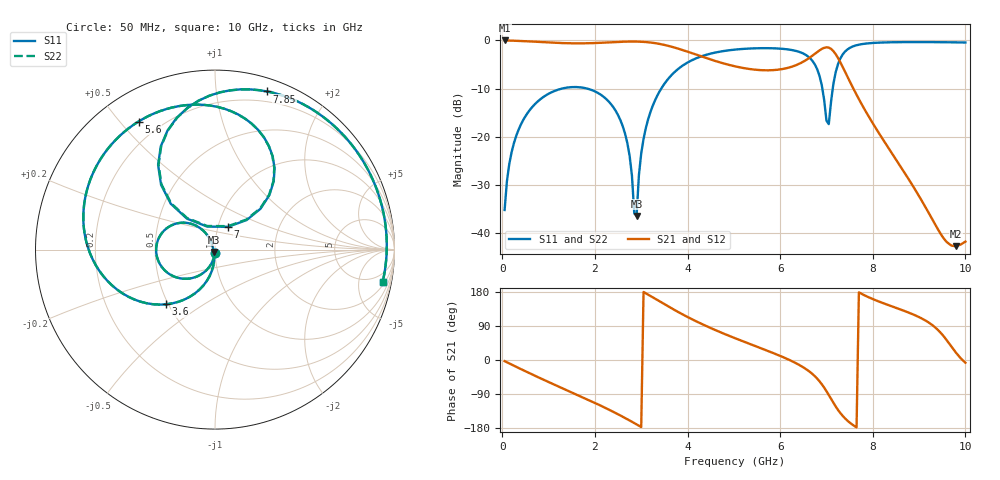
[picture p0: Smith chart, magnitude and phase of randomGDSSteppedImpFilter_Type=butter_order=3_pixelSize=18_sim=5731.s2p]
! freq	dB(S11)	phase(S11)	dB(S12)	phase(S12)
!  dB(S21)	phase(S21)	dB(S22)	phase(S22)
!S-par simulation data
#  GHz  S  DB  R 50
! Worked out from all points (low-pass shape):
!   200 points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, 50 MHz to 10 GHz, reference 50 ohm
!   highest |S21| = 0.00 dB at 50 MHz (marker M1); lowest = -42.8 dB at 9.8 GHz (marker M2)
!   |S21| within 3 dB of the highest: start of sweep to 4.204 GHz; 6.719 GHz to 7.209 GHz (489.3 MHz wide, 7.03 % of centre)
!   lowest |S11| = -36.5 dB at 2.9 GHz (marker M3), VSWR 1.03, Z = 49.3 - j1.31 ohm
!   |S11| at or under -10 dB: start of sweep to 1.29 GHz; 1.828 GHz to 3.433 GHz (1.605 GHz wide, 61 % of centre); 6.911 GHz to 7.136 GHz (225.5 MHz wide, 3.21 % of centre)
!   |S22| runs from -36.4 to -0.3 dB; largest |S21 - S12| = 0
!   S11 on the Smith chart (normalised r, x): 50 MHz: 1.00, -0.03; 3.6 GHz: 0.49, -0.36; 5.6 GHz: 0.12, +0.56; 7 GHz: 1.12, +0.29; 7.85 GHz: 0.11, +1.38; 10 GHz: 3, -10
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0.05  -35.24 -92.9  -0.00 -3.0  -0.00 -3.0  -35.24 -92.9
0.2  -23.27 -102.2  -0.04 -12.0  -0.04 -12.0  -23.27 -102.2
0.5  -15.75 -120.3  -0.16 -29.7  -0.16 -29.7  -15.75 -120.3
1.75  -9.84 170.5  -0.60 -99.2  -0.60 -99.2  -9.84 170.5
2.55  -16.56 125.1  -0.29 -146.4  -0.29 -146.4  -16.56 125.2
2.75  -24.02 116.2  -0.23 -159.6  -0.23 -159.6  -24.02 116.2
2.9  -36.47 -117.7  -0.24 -169.9  -0.24 -169.9  -36.44 -117.9
3.05  -20.47 -96.3  -0.30 179.5  -0.30 179.5  -20.46 -96.3
3.4  -10.53 -118.0  -0.73 154.4  -0.73 154.4  -10.53 -118.1
3.6  -7.78 -131.7  -1.16 140.2  -1.16 140.2  -7.78 -131.7
4.35  -3.14 -178.3  -3.48 92.6  -3.48 92.6  -3.14 -178.3
5.05  -1.88 146.1  -5.44 56.4  -5.44 56.4  -1.88 146.2
5.6  -1.61 120.8  -6.18 30.4  -6.18 30.4  -1.61 120.9
6.25  -1.99 89.0  -5.47 -2.8  -5.47 -2.8  -1.99 89.1
6.7  -4.28 58.3  -3.14 -37.3  -3.14 -37.3  -4.27 58.5
7  -16.66 60.0  -1.43 -82.3  -1.43 -82.3  -16.49 60.7
7.25  -4.90 123.9  -3.66 -131.9  -3.66 -131.9  -4.89 123.5
7.5  -1.57 96.4  -8.45 -164.9  -8.45 -164.9  -1.57 96.2
7.85  -0.65 71.8  -14.78 169.0  -14.78 169.0  -0.65 71.7
8.35  -0.39 47.6  -22.51 144.3  -22.51 144.3  -0.39 47.6
9.8  -0.40 -4.6  -42.75 18.8  -42.75 18.8  -0.40 -4.6
10  -0.43 -10.8  -41.81 -7.3  -41.81 -7.3  -0.43 -10.8
